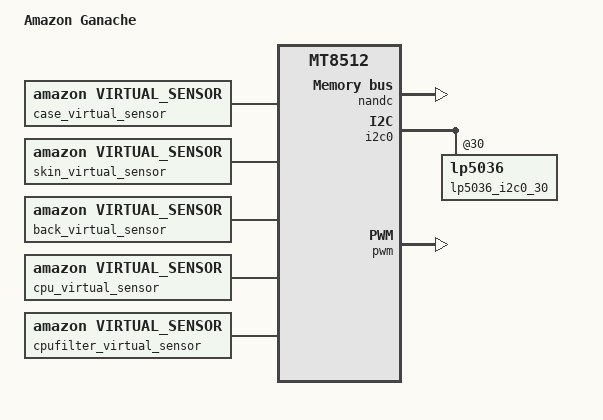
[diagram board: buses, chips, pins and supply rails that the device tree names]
/*
 * Copyright (c) 2020 Amazon.com
 *
 * SPDX-License-Identifier: (GPL-2.0)
 */

/dts-v1/;
#include "brownie-mt8512.dtsi"

/ {
	model = "Amazon Ganache";
	compatible = "amzn,ganache-mt8512-nand-evt-delay", "mediatek,mt8512";

	chosen {
		bootargs = "";
	};

	reset_adc: fixedregulator@7 {
		pinctrl-names = "default";
		pinctrl-0 = <&adc_reset_default>;
	};

	/* display */
	case_virtual_sensor: case-virtual-sensor {
		compatible = "amazon,virtual_sensor";
		#thermal-sensor-cells = <0>;

		zone-list {
			zone-names = "therm0_s", "therm1_s", "therm2_s", "wifi_temp", "mtktscpu";
			therm0_s = <1 62000 224 2 (-40000) 125000>;
			therm1_s = <1 64400 871 0 (-40000) 125000>;
			therm2_s = <0 44600 69 597 (-40000) 125000>;
			wifi_temp = <0 0 0 0 0 0>;
			mtktscpu = <1 69700 919 0 0 0>;
		};
	};

	/* top */
	skin_virtual_sensor: skin-virtual-sensor {
		compatible = "amazon,virtual_sensor";
		#thermal-sensor-cells = <0>;

		zone-list {
			zone-names = "therm0_s", "therm1_s", "therm2_s", "wifi_temp", "mtktscpu";
			therm0_s = <1 473 691 672 (-40000) 125000>;
			therm1_s = <1 64600 871 0 (-40000) 125000>;
			therm2_s = <1 63300 62 (-327) (-40000) 125000>;
			wifi_temp = <0 0 0 0 0 0>;
			mtktscpu = <1 53200 877 116 0 0>;
		};
	};

	back_virtual_sensor: back-virtual-sensor {
		compatible = "amazon,virtual_sensor";
		#thermal-sensor-cells = <0>;

		zone-list {
			zone-names = "therm0_s", "therm1_s", "therm2_s", "wifi_temp", "mtktscpu";
			therm0_s = <0 37400 22 375 (-40000) 125000>;
			therm1_s = <1 63800 871 0 (-40000) 125000>;
			therm2_s = <1 9820 51 292 (-40000) 125000>;
			wifi_temp = <0 0 0 0 0 0>;
			mtktscpu = <1 68900 919 0 0 0>;
		};
	};

	cpu_virtual_sensor: cpu-virtual-sensor {
		compatible = "amazon,virtual_sensor";
		#thermal-sensor-cells = <0>;

		zone-list {
			zone-names = "therm0_s", "therm1_s", "therm2_s", "wifi_temp", "mtktscpu";
			therm0_s = <0 0 0 0 (-40000) 125000>;
			therm1_s = <0 0 0 0 (-40000) 125000>;
			therm2_s = <0 0 0 0 (-40000) 125000>;
			wifi_temp = <0 0 0 0 0 0>;
			mtktscpu = <0 0 1000 1000 0 0>;
		};
	};

	cpufilter_virtual_sensor: cpufilter-virtual-sensor {
		compatible = "amazon,virtual_sensor";
		#thermal-sensor-cells = <0>;
		moving-average-prop = <1000 5 100 0>;

		zone-list {
			zone-names = "therm0_s", "therm1_s", "therm2_s", "wifi_temp", "mtktscpu";
			therm0_s = <0 0 0 0 (-40000) 125000>;
			therm1_s = <0 0 0 0 (-40000) 125000>;
			therm2_s = <0 0 0 0 (-40000) 125000>;
			wifi_temp = <0 0 0 0 0 0>;
			mtktscpu = <0 0 1000 1000 0 0>;
		};
	};
};

&nandc {
	status = "okay";
};

&i2c0 {
	lp5036_i2c0_30: lp5036@30 {
		status = "okay";
	};
};

&pio {
	mmc1_pins_default: mmc1default {
		pins_wifi_reset {
			pinmux = <MT8512_PIN_44_PWM0__FUNC_GPIO44>;
			input-enable;
			bias-disable;
		};
	};

	adc_reset_default: adcreset {
		pins_cmd_dat {
			pinmux = <MT8512_PIN_17_GPIO17__FUNC_GPIO17>;
			output-high;
			bias-pull-up;
		};
	};
};

&pwm {
	invert = <1>;
	status = "okay";
};

&volumeup_button {
	swdebounce-interval = <100>;
	dyndebounce-interval = <0>;
	dyndebounce-duration = <10000>;		/* 10 sec */
};

&volumedown_button {
	swdebounce-interval = <100>;
	dyndebounce-interval = <0>;
	dyndebounce-duration = <10000>;		/* 10 sec */
};

&action_button {
	swdebounce-interval = <100>;
	dyndebounce-interval = <0>;
	dyndebounce-duration = <10000>;		/* 10 sec */
};
